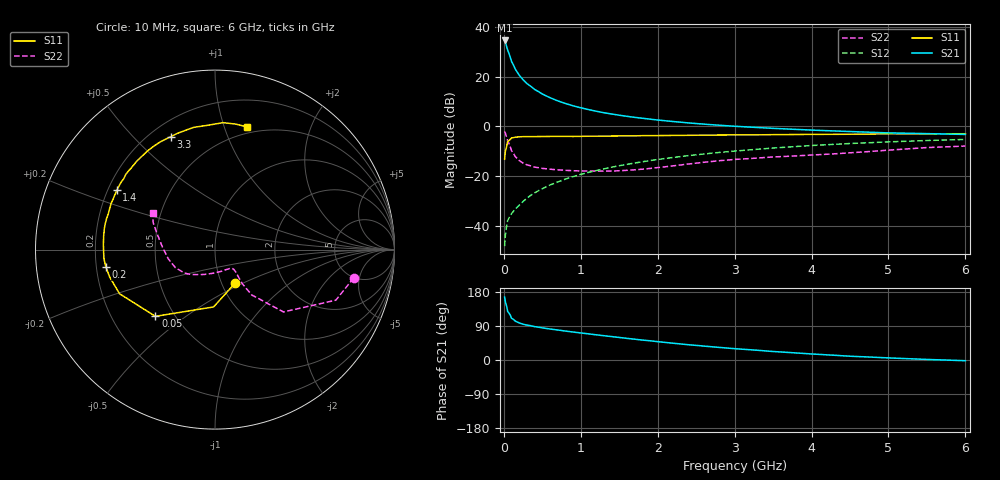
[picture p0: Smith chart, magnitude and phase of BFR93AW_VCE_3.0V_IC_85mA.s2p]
! Infineon Technologies  Discrete & RF Semiconductors
! BFR93AW
! VCE =  3.0 V,  IC =  85 mA
! Common Emitter S-Parameters:  Jan 2017
# GHz  S  MA  R  50
!  f  S11  S21  S12  S22
! GHz  MAG  ANG  MAG  ANG  MAG  ANG  MAG  ANG
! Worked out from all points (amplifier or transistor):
!   77 points, 10 MHz to 6 GHz, reference 50 ohm
!   highest |S21| = 34.5 dB at 10 MHz (marker M1)
!   |S21| within 3 dB of that: start of sweep to 41.41 MHz
!   unconditionally stable (mu >= 1): 156.8 MHz to 3.49 GHz
!   at 130 MHz: K = 0.91, MSG = 29.1 dB, |S12| = -33.9 dB
!   at 2.2 GHz: K = 1.09, MAG = 5.4 dB, |S12| = -12.5 dB
!   at 6 GHz: K = 0.99, MSG = 1.0 dB, |S12| = -5.3 dB
!   S11 on the Smith chart (normalised r, x): 10 MHz: 1.16, -0.45; 50 MHz: 0.39, -0.39; 200 MHz: 0.24, -0.08; 1.4 GHz: 0.24, +0.26; 3.3 GHz: 0.28, +0.65; 6 GHz: 0.44, +1.19
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0.01  0.2178 -59.2  53.35 165.9  0.0039 61.9  0.7889 -11.5
0.02  0.3195 -91.4  49.83 153.3  0.0065 68.1  0.7299 -22.7
0.05  0.4986 -131.8  34.1 127.9  0.0128 55.7  0.516 -42.3
0.1  0.5861 -155.2  20.23 110.2  0.0175 55.7  0.3252 -51.0
0.15  0.6063 -165.4  14.03 102.5  0.0218 59.4  0.2448 -51.3
0.2  0.6156 -170.9  10.7 97.9  0.0259 63.9  0.2058 -49.7
0.25  0.6206 -175.0  8.658 94.4  0.0309 65.6  0.1825 -48.1
0.3  0.6205 -178.1  7.252 92.1  0.036 68.2  0.1687 -47.1
0.4  0.6227 177.1  5.527 88.1  0.046 71.3  0.1518 -46.4
0.5  0.6249 173.0  4.465 84.8  0.0557 72.1  0.1431 -47.5
0.6  0.6273 169.7  3.77 81.8  0.0662 73.0  0.1376 -49.6
0.7  0.6283 166.8  3.263 79.2  0.0761 73.5  0.1336 -52.1
0.9  0.6272 161.1  2.587 73.8  0.0975 73.0  0.1282 -59.3
1.1  0.6336 155.9  2.175 69.0  0.1186 72.1  0.1264 -67.7
1.4  0.6388 148.9  1.775 61.8  0.1509 70.1  0.1263 -82.3
1.7  0.644 142.0  1.518 54.9  0.1828 67.4  0.1339 -97.5
2.1  0.6544 133.6  1.295 46.4  0.2262 63.3  0.154 -115.9
3.1  0.6735 114.9  0.985 28.5  0.3276 51.9  0.2207 -146.1
3.3  0.6758 111.4  0.947 25.6  0.3467 49.5  0.2309 -151.1
4.1  0.6912 98.5  0.83 14.8  0.4194 40.0  0.27 -172.0
5.1  0.7081 85.2  0.734 4.7  0.4935 28.1  0.3406 163.3
6  0.7062 75.5  0.688 -1.9  0.5463 18.0  0.402 149.9
